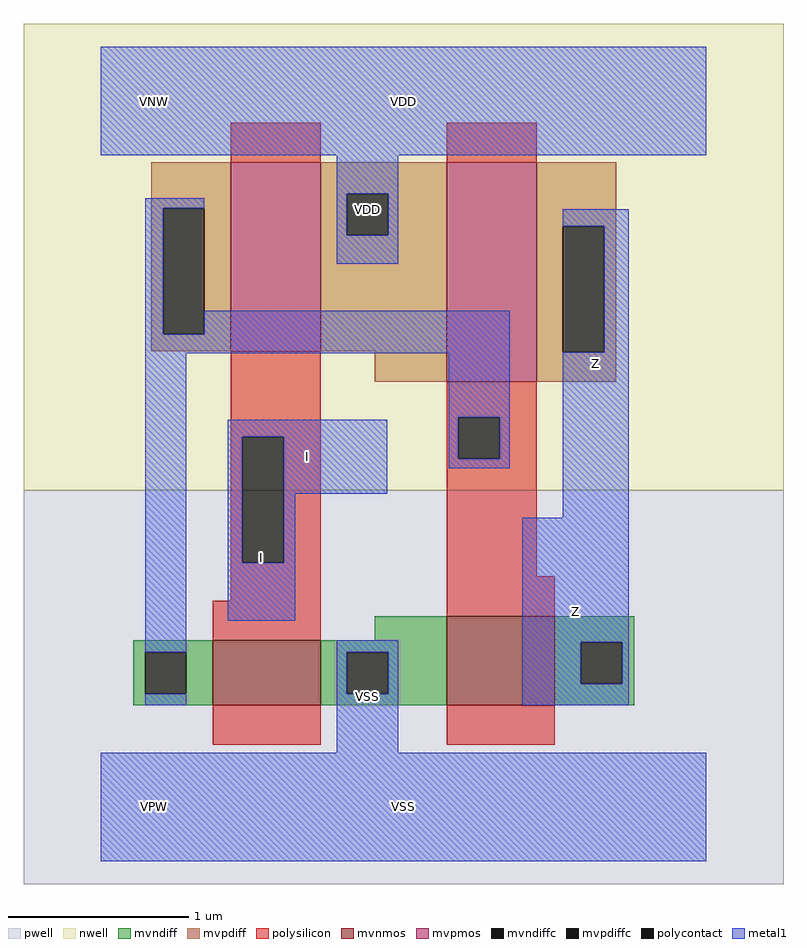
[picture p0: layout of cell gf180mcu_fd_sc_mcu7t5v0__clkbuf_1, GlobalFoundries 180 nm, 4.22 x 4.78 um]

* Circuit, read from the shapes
.subckt gf180mcu_fd_sc_mcu7t5v0__clkbuf_1 I Z VDD VNW VPW VSS
XM1 VSS I n1 VPW nfet_06v0 w=0.36u l=0.6u
XM2 Z n1 VSS VPW nfet_06v0 w=0.495u l=0.6u
XM3 VDD I n1 VNW pfet_06v0 w=1.05u l=0.5u
XM4 Z n1 VDD VNW pfet_06v0 w=1.22u l=0.5u
.ends

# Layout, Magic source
magic
tech gf180mcuD
magscale 1 10
<< nwell >>
rect -86 352 758 870
<< pwell >>
rect -86 -86 758 352
<< mvnmos >>
rect 124 113 244 185
rect 384 113 504 212
<< mvpmos >>
rect 144 506 244 716
rect 384 472 484 716
<< mvndiff >>
rect 304 185 384 212
rect 36 172 124 185
rect 36 126 49 172
rect 95 126 124 172
rect 36 113 124 126
rect 244 172 384 185
rect 244 126 273 172
rect 319 126 384 172
rect 244 113 384 126
rect 504 183 592 212
rect 504 137 533 183
rect 579 137 592 183
rect 504 113 592 137
<< mvpdiff >>
rect 56 665 144 716
rect 56 525 69 665
rect 115 525 144 665
rect 56 506 144 525
rect 244 681 384 716
rect 244 635 273 681
rect 319 635 384 681
rect 244 506 384 635
rect 304 472 384 506
rect 484 645 572 716
rect 484 505 513 645
rect 559 505 572 645
rect 484 472 572 505
<< mvndiffc >>
rect 49 126 95 172
rect 273 126 319 172
rect 533 137 579 183
<< mvpdiffc >>
rect 69 525 115 665
rect 273 635 319 681
rect 513 505 559 645
<< polysilicon >>
rect 144 716 244 760
rect 384 716 484 760
rect 144 411 244 506
rect 144 271 157 411
rect 203 271 244 411
rect 144 229 244 271
rect 124 185 244 229
rect 384 433 484 472
rect 384 387 397 433
rect 443 387 484 433
rect 384 256 484 387
rect 384 212 504 256
rect 124 69 244 113
rect 384 69 504 113
<< polycontact >>
rect 157 271 203 411
rect 397 387 443 433
<< metal1 >>
rect 0 724 672 844
rect 262 681 330 724
rect 49 665 115 676
rect 49 525 69 665
rect 262 635 273 681
rect 319 635 330 681
rect 262 603 330 635
rect 513 645 586 664
rect 115 525 454 551
rect 49 504 454 525
rect 49 172 95 504
rect 386 433 454 504
rect 141 411 318 430
rect 141 271 157 411
rect 203 348 318 411
rect 386 387 397 433
rect 443 387 454 433
rect 386 376 454 387
rect 559 505 586 645
rect 203 271 216 348
rect 513 321 586 505
rect 141 207 216 271
rect 49 113 95 126
rect 262 172 330 185
rect 262 126 273 172
rect 319 126 330 172
rect 262 60 330 126
rect 468 183 586 321
rect 468 137 533 183
rect 579 137 586 183
rect 468 113 586 137
rect 0 -60 672 60
<< labels >>
flabel metal1 s 262 60 330 185 0 FreeSans 400 0 0 0 VSS
port 6 nsew ground bidirectional abutment
flabel metal1 s 513 321 586 664 0 FreeSans 400 0 0 0 Z
port 2 nsew default output
flabel metal1 s 141 348 318 430 0 FreeSans 400 0 0 0 I
port 1 nsew default input
flabel metal1 s 0 724 672 844 0 FreeSans 400 0 0 0 VDD
port 3 nsew power bidirectional abutment
flabel nwell s 10 734 110 834 0 FreeSans 400 0 0 0 VNW
port 4 nsew power bidirectional
flabel pwell s 10 -50 110 50 0 FreeSans 400 0 0 0 VPW
port 5 nsew ground bidirectional
rlabel metal1 s 141 207 216 348 1 I
port 1 nsew default input
rlabel metal1 s 468 113 586 321 1 Z
port 2 nsew default output
rlabel metal1 s 262 603 330 724 1 VDD
port 3 nsew power bidirectional abutment
rlabel metal1 s 0 -60 672 60 1 VSS
port 6 nsew ground bidirectional abutment
<< properties >>
string FIXED_BBOX 0 0 672 784
string GDS_END 1443700
string GDS_FILE $PDKPATH/libs.ref/gf180mcu_fd_sc_mcu7t5v0/gds/gf180mcu_fd_sc_mcu7t5v0.gds
string GDS_START 1441056
string LEFclass core
string LEFsite GF018hv5v_mcu_sc7
string LEFsymmetry X Y
string MASKHINTS_DUALGATE -56 764 64 840 564 764 728 840 -56 458 8 764 -56 309 64 458 620 424 728 764 564 336 728 424 -56 233 44 309 584 260 728 336 -56 65 -12 233 640 65 728 260 -56 -11 44 65 584 -11 728 65 -56 -56 728 -11
string MASKHINTS_NPLUS -40 258 712 352 -40 244 338 258 550 244 712 258 -40 231 272 244 -40 217 78 231 -40 81 4 217 624 81 712 244 -40 67 78 81 550 67 712 81 -40 -40 712 67
string MASKHINTS_PPLUS -40 762 712 824 -40 748 98 762 530 748 712 762 -40 474 24 748 -40 460 98 474 -40 440 272 460 604 440 712 748 -40 426 338 440 530 426 712 440 -40 352 712 426
<< end >>
